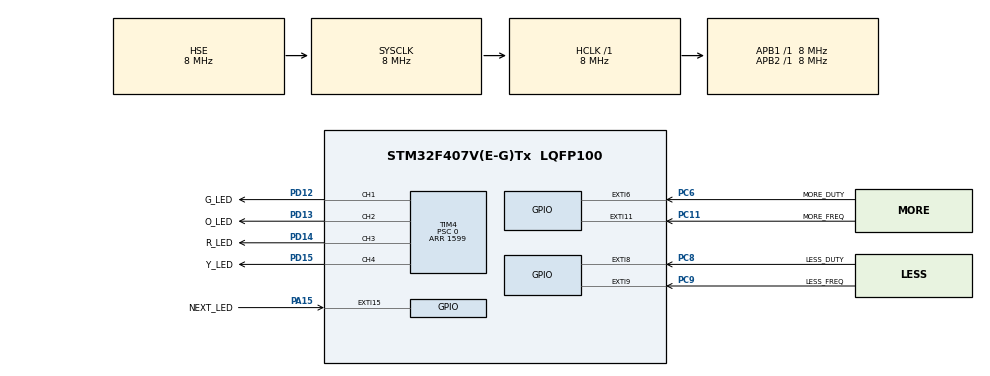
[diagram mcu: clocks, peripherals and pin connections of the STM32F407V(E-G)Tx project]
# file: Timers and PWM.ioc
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Mcu.Family=STM32F4
Mcu.Name=STM32F407V(E-G)Tx
Mcu.Package=LQFP100
NVIC.EXTI15_10_IRQn=true\:0\:0\:false\:false\:true\:true\:true
NVIC.EXTI9_5_IRQn=true\:0\:0\:false\:false\:true\:true\:true
NVIC.PriorityGroup=NVIC_PRIORITYGROUP_4
NVIC.TIM4_IRQn=true\:0\:0\:false\:false\:true\:true\:true
PA15.GPIO_Label=NEXT_LED
PA15.GPIO_ModeDefaultEXTI=GPIO_MODE_IT_FALLING
PA15.Signal=GPXTI15
PC11.GPIO_Label=MORE_FREQ
PC11.GPIO_ModeDefaultEXTI=GPIO_MODE_IT_FALLING
PC11.Signal=GPXTI11
PC6.GPIO_Label=MORE_DUTY
PC6.GPIO_ModeDefaultEXTI=GPIO_MODE_IT_FALLING
PC6.Signal=GPXTI6
PC8.GPIO_Label=LESS_DUTY
PC8.GPIO_ModeDefaultEXTI=GPIO_MODE_IT_FALLING
PC8.Signal=GPXTI8
PC9.GPIO_Label=LESS_FREQ
PC9.GPIO_ModeDefaultEXTI=GPIO_MODE_IT_FALLING
PC9.Signal=GPXTI9
PD12.GPIO_Label=G_LED
PD12.Signal=S_TIM4_CH1
PD13.GPIO_Label=O_LED
PD13.Signal=S_TIM4_CH2
PD14.GPIO_Label=R_LED
PD14.Signal=S_TIM4_CH3
PD15.GPIO_Label=Y_LED
PD15.Signal=S_TIM4_CH4
PH0-OSC_IN.Mode=HSE-External-Oscillator
PH0-OSC_IN.Signal=RCC_OSC_IN
PH1-OSC_OUT.Mode=HSE-External-Oscillator
PH1-OSC_OUT.Signal=RCC_OSC_OUT
ProjectManager.HeapSize=0x200
ProjectManager.StackSize=0x400
ProjectManager.TargetToolchain=STM32CubeIDE
RCC.48MHZClocksFreq_Value=6250000
RCC.AHBFreq_Value=8000000
RCC.APB1Freq_Value=8000000
RCC.APB1TimFreq_Value=8000000
RCC.APB2Freq_Value=8000000
RCC.APB2TimFreq_Value=8000000
RCC.CortexFreq_Value=8000000
RCC.EnbaleCSS=true
RCC.HCLKFreq_Value=8000000
RCC.HSE_VALUE=8000000
RCC.HSI_VALUE=16000000
RCC.LSE_VALUE=32768
RCC.PLLN=50
RCC.PLLSourceVirtual=RCC_PLLSOURCE_HSE
RCC.SYSCLKFreq_VALUE=8000000
RCC.SYSCLKSource=RCC_SYSCLKSOURCE_HSE
RCC.VCOOutputFreq_Value=25000000
SH.S_TIM4_CH1.0=TIM4_CH1,PWM Generation1 CH1
SH.S_TIM4_CH2.0=TIM4_CH2,PWM Generation2 CH2
SH.S_TIM4_CH3.0=TIM4_CH3,PWM Generation3 CH3
SH.S_TIM4_CH4.0=TIM4_CH4,PWM Generation4 CH4
TIM4.AutoReloadPreload=TIM_AUTORELOAD_PRELOAD_ENABLE
TIM4.Channel-PWM\ Generation1\ CH1=TIM_CHANNEL_1
TIM4.Channel-PWM\ Generation2\ CH2=TIM_CHANNEL_2
TIM4.Channel-PWM\ Generation3\ CH3=TIM_CHANNEL_3
TIM4.Channel-PWM\ Generation4\ CH4=TIM_CHANNEL_4
TIM4.Period=1599
TIM4.Prescaler=0
TIM4.Pulse-PWM\ Generation1\ CH1=800
TIM4.Pulse-PWM\ Generation2\ CH2=0
TIM4.Pulse-PWM\ Generation3\ CH3=0
board=custom

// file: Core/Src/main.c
/* USER CODE BEGIN Header */
/**
  ******************************************************************************
  * @file           : main.c
  * @brief          : Main program body
  ******************************************************************************
  * @attention
  *
  * <h2><center>&copy; Copyright (c) 2021 STMicroelectronics.
  * All rights reserved.</center></h2>
  *
  * This software component is licensed by ST under BSD 3-Clause license,
  * the "License"; You may not use this file except in compliance with the
  * License. You may obtain a copy of the License at:
  *                        opensource.org/licenses/BSD-3-Clause
  *
  ******************************************************************************
  */
/* USER CODE END Header */
#include "main.h"

TIM_HandleTypeDef htim4;

/* USER CODE BEGIN PV */
int CURRENT_LED = 0;
int CURRENT_FREQ = 5000;
int CLOCK = 8000000;
int CURRENT_DUTY = 50;
uint32_t CURRENT_CH;
/* USER CODE END PV */

void SystemClock_Config(void);
static void MX_GPIO_Init(void);
static void MX_TIM4_Init(void);
void recalculate (void);

int main(void)
{

  /* MCU Configuration--------------------------------------------------------*/

  /* Reset of all peripherals, Initializes the Flash interface and the Systick. */
  HAL_Init();

  /* Configure the system clock */
  SystemClock_Config();

  /* Initialize all configured peripherals */
  MX_GPIO_Init();
  MX_TIM4_Init();
  /* USER CODE BEGIN 2 */
  HAL_TIM_PWM_Start(&htim4, TIM_CHANNEL_1);
  HAL_TIM_PWM_Start(&htim4, TIM_CHANNEL_2);
  HAL_TIM_PWM_Start(&htim4, TIM_CHANNEL_3);
  HAL_TIM_PWM_Start(&htim4, TIM_CHANNEL_4);

  /* USER CODE END 2 */

  /* Infinite loop */
  while (1)
  {

  }
}

void SystemClock_Config(void)
{
  RCC_OscInitTypeDef RCC_OscInitStruct = {0};
  RCC_ClkInitTypeDef RCC_ClkInitStruct = {0};

  /** Configure the main internal regulator output voltage
  */
  __HAL_RCC_PWR_CLK_ENABLE();
  __HAL_PWR_VOLTAGESCALING_CONFIG(PWR_REGULATOR_VOLTAGE_SCALE1);
  /** Initializes the RCC Oscillators according to the specified parameters
  * in the RCC_OscInitTypeDef structure.
  */
  RCC_OscInitStruct.OscillatorType = RCC_OSCILLATORTYPE_HSE;
  RCC_OscInitStruct.HSEState = RCC_HSE_ON;
  RCC_OscInitStruct.PLL.PLLState = RCC_PLL_NONE;
  if (HAL_RCC_OscConfig(&RCC_OscInitStruct) != HAL_OK)
  {
    Error_Handler();
  }
  /** Initializes the CPU, AHB and APB buses clocks
  */
  RCC_ClkInitStruct.ClockType = RCC_CLOCKTYPE_HCLK|RCC_CLOCKTYPE_SYSCLK
                              |RCC_CLOCKTYPE_PCLK1|RCC_CLOCKTYPE_PCLK2;
  RCC_ClkInitStruct.SYSCLKSource = RCC_SYSCLKSOURCE_HSE;
  RCC_ClkInitStruct.AHBCLKDivider = RCC_SYSCLK_DIV1;
  RCC_ClkInitStruct.APB1CLKDivider = RCC_HCLK_DIV1;
  RCC_ClkInitStruct.APB2CLKDivider = RCC_HCLK_DIV1;

  if (HAL_RCC_ClockConfig(&RCC_ClkInitStruct, FLASH_LATENCY_0) != HAL_OK)
  {
    Error_Handler();
  }
  /** Enables the Clock Security System
  */
  HAL_RCC_EnableCSS();
}

static void MX_TIM4_Init(void)
{

  TIM_MasterConfigTypeDef sMasterConfig = {0};
  TIM_OC_InitTypeDef sConfigOC = {0};

  htim4.Instance = TIM4;
  htim4.Init.Prescaler = 0;
  htim4.Init.CounterMode = TIM_COUNTERMODE_UP;
  htim4.Init.Period = 1599;
  htim4.Init.ClockDivision = TIM_CLOCKDIVISION_DIV1;
  htim4.Init.AutoReloadPreload = TIM_AUTORELOAD_PRELOAD_ENABLE;
  if (HAL_TIM_PWM_Init(&htim4) != HAL_OK)
  {
    Error_Handler();
  }
  sMasterConfig.MasterOutputTrigger = TIM_TRGO_RESET;
  sMasterConfig.MasterSlaveMode = TIM_MASTERSLAVEMODE_DISABLE;
  if (HAL_TIMEx_MasterConfigSynchronization(&htim4, &sMasterConfig) != HAL_OK)
  {
    Error_Handler();
  }
  sConfigOC.OCMode = TIM_OCMODE_PWM1;
  sConfigOC.Pulse = 800;
  sConfigOC.OCPolarity = TIM_OCPOLARITY_HIGH;
  sConfigOC.OCFastMode = TIM_OCFAST_DISABLE;
  if (HAL_TIM_PWM_ConfigChannel(&htim4, &sConfigOC, TIM_CHANNEL_1) != HAL_OK)
  {
    Error_Handler();
  }
  sConfigOC.Pulse = 0;
  if (HAL_TIM_PWM_ConfigChannel(&htim4, &sConfigOC, TIM_CHANNEL_2) != HAL_OK)
  {
    Error_Handler();
  }
  if (HAL_TIM_PWM_ConfigChannel(&htim4, &sConfigOC, TIM_CHANNEL_3) != HAL_OK)
  {
    Error_Handler();
  }
  if (HAL_TIM_PWM_ConfigChannel(&htim4, &sConfigOC, TIM_CHANNEL_4) != HAL_OK)
  {
    Error_Handler();
  }
  HAL_TIM_MspPostInit(&htim4);

}

static void MX_GPIO_Init(void)
{
  GPIO_InitTypeDef GPIO_InitStruct = {0};

  /* GPIO Ports Clock Enable */
  __HAL_RCC_GPIOH_CLK_ENABLE();
  __HAL_RCC_GPIOD_CLK_ENABLE();
  __HAL_RCC_GPIOC_CLK_ENABLE();
  __HAL_RCC_GPIOA_CLK_ENABLE();

  /*Configure GPIO pins : MORE_DUTY_Pin LESS_DUTY_Pin LESS_FREQ_Pin MORE_FREQ_Pin */
  GPIO_InitStruct.Pin = MORE_DUTY_Pin|LESS_DUTY_Pin|LESS_FREQ_Pin|MORE_FREQ_Pin;
  GPIO_InitStruct.Mode = GPIO_MODE_IT_FALLING;
  GPIO_InitStruct.Pull = GPIO_NOPULL;
  HAL_GPIO_Init(GPIOC, &GPIO_InitStruct);

  /*Configure GPIO pin : NEXT_LED_Pin */
  GPIO_InitStruct.Pin = NEXT_LED_Pin;
  GPIO_InitStruct.Mode = GPIO_MODE_IT_FALLING;
  GPIO_InitStruct.Pull = GPIO_NOPULL;
  HAL_GPIO_Init(NEXT_LED_GPIO_Port, &GPIO_InitStruct);

  /* EXTI interrupt init*/
  HAL_NVIC_SetPriority(EXTI9_5_IRQn, 0, 0);
  HAL_NVIC_EnableIRQ(EXTI9_5_IRQn);

  HAL_NVIC_SetPriority(EXTI15_10_IRQn, 0, 0);
  HAL_NVIC_EnableIRQ(EXTI15_10_IRQn);

}

/* USER CODE BEGIN 4 */
void HAL_GPIO_EXTI_Callback(uint16_t GPIO_PIN)
  {
	  switch(GPIO_PIN)
	  {
	  case MORE_FREQ_Pin:
		  CURRENT_FREQ = (CURRENT_FREQ < 100000) ? CURRENT_FREQ + 5000 : CURRENT_FREQ;
		  break;
	  case LESS_FREQ_Pin:
		  CURRENT_FREQ = (CURRENT_FREQ > 5000 ) ? CURRENT_FREQ - 5000 : CURRENT_FREQ;
		  break;
	  case MORE_DUTY_Pin:
		  CURRENT_DUTY = (CURRENT_DUTY < 100) ? CURRENT_DUTY + 5 : CURRENT_DUTY;
		  break;
	  case LESS_DUTY_Pin:
		  CURRENT_DUTY = (CURRENT_DUTY > 0 ) ? CURRENT_DUTY - 5 : CURRENT_DUTY;
		  break;
	  case NEXT_LED_Pin:

		  CURRENT_LED = (CURRENT_LED < 4)? ++CURRENT_LED: 0;
	  }

	  recalculate ();
	  switch(CURRENT_LED)
	  		  {
	  		  case 0:
	  			  TIM4->CCR1 = CURRENT_CH;
	  			  TIM4->CCR4 = 0;
	  			  TIM4->CCR2 = 0;
	  			  TIM4->CCR3 = 0;
	  			  break;

	  		  case 1:
	  			  TIM4->CCR2 = CURRENT_CH;
	  			  TIM4->CCR4 = 0;
	  			  TIM4->CCR1 = 0;
	  			  TIM4->CCR3 = 0;

	  		  	  break;

	  		  case 2:
	  			  TIM4->CCR3 = CURRENT_CH;
	  			  TIM4->CCR4 = 0;
	  			  TIM4->CCR1 = 0;
	  			  TIM4->CCR2 = 0;
	  		  	  break;

	  		  case 3:
	  			  TIM4->CCR4 = CURRENT_CH;
	  			  TIM4->CCR2 = 0;
	  			  TIM4->CCR1 = 0;
	  			  TIM4->CCR3 = 0;
	  	  	  	  break;

	  		  case 4:
	  			  TIM4->CCR2 = 0;
	  			  TIM4->CCR4 = 0;
	  			  TIM4->CCR1 = 0;
	  			  TIM4->CCR3 = 0;
	  	  	  	  break;

	  		  }
  }

void recalculate (void)
{
	TIM4->ARR = (CLOCK/CURRENT_FREQ)-1;
	CURRENT_CH= ((TIM4->ARR + 1)/100) * CURRENT_DUTY;
}

/* USER CODE END 4 */

void Error_Handler(void)
{
  __disable_irq();
  while (1)
  {
  }
}

/************************ (C) COPYRIGHT STMicroelectronics *****END OF FILE****/
